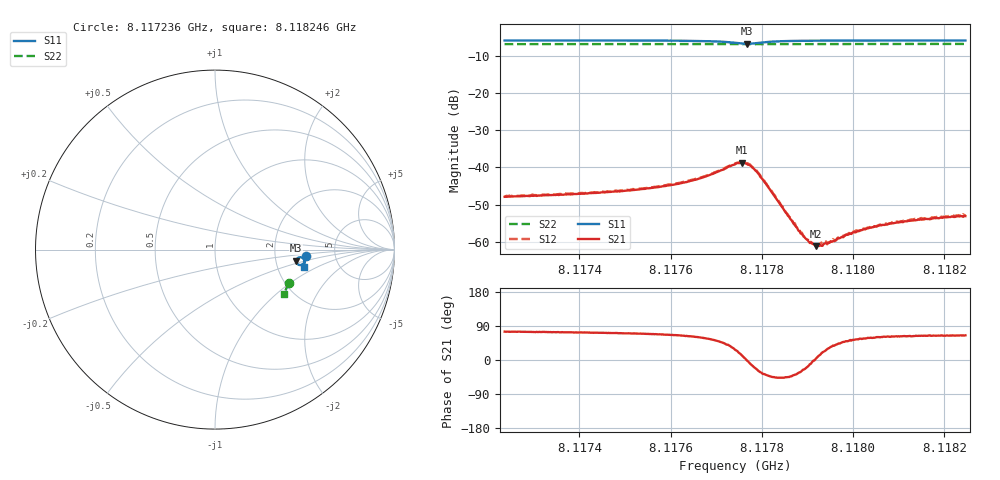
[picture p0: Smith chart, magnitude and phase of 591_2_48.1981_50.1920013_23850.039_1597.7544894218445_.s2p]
#  HZ  S  RI  R  50.00
! Rohde & Schwarz Vector Network Analyzer
! Rohde-Schwarz,ZNB20-2Port,1311601062101988,3.16
! Created: UTC 3/20/2024, 12:02:36 PM
! freq[Hz]  re:S11  im:S11  re:S21  im:S21  re:S12  im:S12  re:S22  im:S22
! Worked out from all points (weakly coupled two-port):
!   401 points, 8.117236 GHz to 8.118246 GHz, reference 50 ohm
!   highest |S21| = -38.68 dB at 8.117756 GHz (marker M1); lowest = -61.1 dB at 8.117918 GHz (marker M2)
!   lowest |S11| = -6.8 dB at 8.117766 GHz (marker M3), VSWR 2.68, Z = 130 - j20.6 ohm
!   |S11| at or under -10 dB: nowhere
!   |S22| runs from -6.9 to -6.8 dB; largest |S21 - S12| = 0.00047
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8.1172363e9  0.5054 -0.0336  0.00105 0.00389  0.00109 0.00394  0.413 -0.184
8.1174054e9  0.5039 -0.0481  0.00131 0.00425  0.00141 0.00431  0.4083 -0.195
8.1175063e9  0.502 -0.0574  0.00165 0.00464  0.00173 0.00467  0.4055 -0.2015
8.1175745e9  0.5 -0.0648  0.00207 0.00505  0.00214 0.00519  0.4034 -0.206
8.1176199e9  0.4976 -0.0707  0.00258 0.00552  0.0027 0.00562  0.402 -0.2089
8.1176704e9  0.492 -0.0787  0.00384 0.00626  0.00392 0.00636  0.4002 -0.2123
8.117741e9  0.4632 -0.083  0.0098 0.00504  0.01 0.00521  0.3969 -0.2163
8.1177562e9  0.4543 -0.0729  0.0114 0.00248  0.0115 0.00243  0.3962 -0.2167
8.1177663e9  0.4527 -0.0625  0.0112 -2.32e-05  0.0114 4.4e-05  0.3959 -0.2168
8.1177764e9  0.4562 -0.0523  0.0102 -0.00219  0.0102 -0.00221  0.3958 -0.2171
8.117789e9  0.4654 -0.0446  0.00796 -0.00368  0.00809 -0.00391  0.3959 -0.2175
8.1178798e9  0.4972 -0.0596  0.00118 -0.000797  0.00122 -0.000855  0.3944 -0.2239
8.117895e9  0.498 -0.0624  0.00104 -0.000435  0.00106 -0.000403  0.394 -0.2249
8.1179101e9  0.4985 -0.0649  0.000953 -8.23e-05  0.00094 -0.000131  0.3935 -0.2261
8.1179177e9  0.4986 -0.0663  0.000876 4.24e-05  0.00091 6.69e-05  0.3933 -0.2265
8.1179278e9  0.4989 -0.0677  0.000879 0.000216  0.000931 0.000232  0.393 -0.2272
8.117948e9  0.4991 -0.0704  0.000826 0.000516  0.000837 0.000513  0.3922 -0.2284
8.1179707e9  0.4992 -0.0734  0.000816 0.000777  0.000843 0.000832  0.3914 -0.2298
8.1180212e9  0.4989 -0.079  0.000809 0.00122  0.000833 0.00124  0.3899 -0.2333
8.1180792e9  0.4983 -0.0846  0.000839 0.00154  0.000834 0.00156  0.3879 -0.2366
8.1181297e9  0.4977 -0.0894  0.000884 0.00172  0.000916 0.0018  0.3861 -0.2399
8.1182458e9  0.4959 -0.0992  0.000936 0.00202  0.00097 0.00203  0.382 -0.2469
